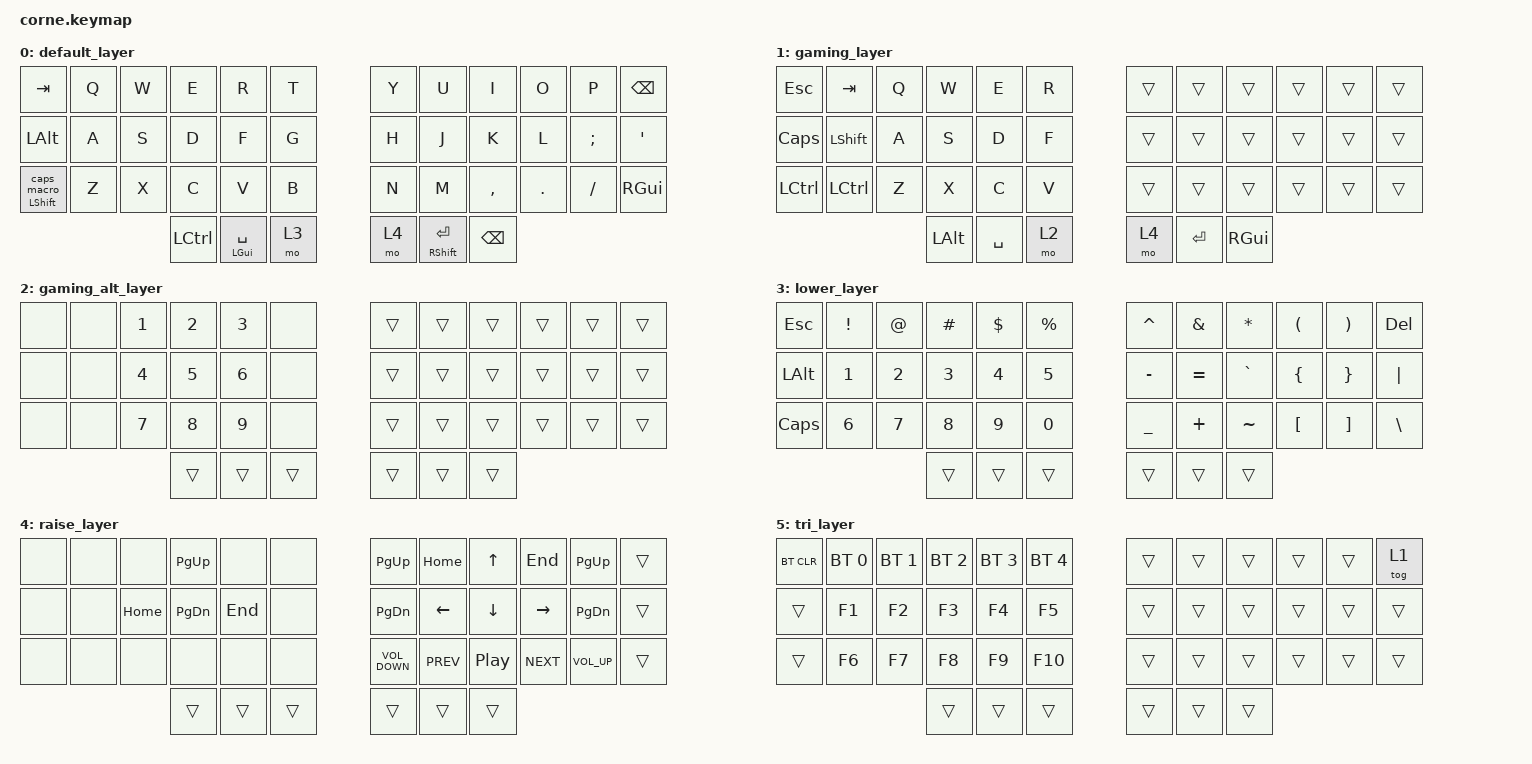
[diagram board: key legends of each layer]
#include <behaviors.dtsi>
#include <dt-bindings/zmk/bt.h>
#include <dt-bindings/zmk/keys.h>

/ {
    macros {
        caps_macro: caps_macro {
            compatible = "zmk,behavior-macro";
            #binding-cells = <0>;
            bindings = <&kp CAPS>, <&macro_tap_time 200>;

            label = "CAPS_MACRO";
        };
    };

    behaviors {
        shift_caps: shift_caps {
            compatible = "zmk,behavior-hold-tap";
            label = "SHIFT_CAPS";
            bindings = <&kp>, <&caps_macro>;

            #binding-cells = <2>;
            tapping-term-ms = <200>;
        };

        tpref: tpref {
            compatible = "zmk,behavior-hold-tap";
            label = "hold_tap_preferred";
            bindings = <&kp>, <&kp>;

            #binding-cells = <2>;
            tapping-term-ms = <150>;
            quick-tap-ms = <0>;
            flavor = "tap-preferred";
        };
    };

    keymap {
        compatible = "zmk,keymap";

        default_layer {
            bindings = <
&kp TAB              &kp Q  &kp W  &kp E      &kp R              &kp T    &kp Y  &kp U                &kp I          &kp O    &kp P     &kp BSPC
&kp LALT             &kp A  &kp S  &kp D      &kp F              &kp G    &kp H  &kp J                &kp K          &kp L    &kp SEMI  &kp SQT
&shift_caps LSHFT 0  &kp Z  &kp X  &kp C      &kp V              &kp B    &kp N  &kp M                &kp COMMA      &kp DOT  &kp FSLH  &kp RGUI
                                   &kp LCTRL  &tpref LGUI SPACE  &mo 3    &mo 4  &mt RIGHT_SHIFT RET  &kp BACKSPACE
            >;
        };

        gaming_layer {
            bindings = <
&kp ESCAPE  &kp TAB         &kp Q  &kp W         &kp E      &kp R    &trans  &trans     &trans         &trans  &trans  &trans
&kp CAPS    &kp LEFT_SHIFT  &kp A  &kp S         &kp D      &kp F    &trans  &trans     &trans         &trans  &trans  &trans
&kp LCTRL   &kp LCTRL       &kp Z  &kp X         &kp C      &kp V    &trans  &trans     &trans         &trans  &trans  &trans
                                   &kp LEFT_ALT  &kp SPACE  &mo 2    &mo 4   &kp ENTER  &kp RIGHT_GUI
            >;
        };

        gaming_alt_layer {
            bindings = <
&none  &none  &kp N1  &kp N2  &kp N3  &none     &trans  &trans  &trans  &trans  &trans  &trans
&none  &none  &kp N4  &kp N5  &kp N6  &none     &trans  &trans  &trans  &trans  &trans  &trans
&none  &none  &kp N7  &kp N8  &kp N9  &none     &trans  &trans  &trans  &trans  &trans  &trans
                      &trans  &trans  &trans    &trans  &trans  &trans
            >;
        };

        lower_layer {
            bindings = <
&kp ESC       &kp EXCL  &kp AT  &kp HASH  &kp DLLR  &kp PRCNT    &kp CARET  &kp AMPS   &kp ASTRK  &kp LPAR  &kp RPAR  &kp DEL
&kp LEFT_ALT  &kp N1    &kp N2  &kp N3    &kp N4    &kp N5       &kp MINUS  &kp EQUAL  &kp GRAVE  &kp LBRC  &kp RBRC  &kp PIPE
&kp CAPS      &kp N6    &kp N7  &kp N8    &kp N9    &kp N0       &kp UNDER  &kp PLUS   &kp TILDE  &kp LBKT  &kp RBKT  &kp BSLH
                                &trans    &trans    &trans       &trans     &trans     &trans
            >;
        };

        raise_layer {
            bindings = <
&none  &none  &none     &kp PAGE_UP    &none    &none     &kp PAGE_UP        &kp HOME    &kp UP            &kp END     &kp PAGE_UP      &trans
&none  &none  &kp HOME  &kp PAGE_DOWN  &kp END  &none     &kp PAGE_DOWN      &kp LEFT    &kp DOWN          &kp RIGHT   &kp PAGE_DOWN    &trans
&none  &none  &none     &none          &none    &none     &kp C_VOLUME_DOWN  &kp C_PREV  &kp C_PLAY_PAUSE  &kp C_NEXT  &kp C_VOLUME_UP  &trans
                        &trans         &trans   &trans    &trans             &trans      &trans
            >;
        };

        tri_layer {
            bindings = <
&bt BT_CLR  &bt BT_SEL 0  &bt BT_SEL 1  &bt BT_SEL 2  &bt BT_SEL 3  &bt BT_SEL 4    &trans  &trans  &trans  &trans  &trans  &tog 1
&trans      &kp F1        &kp F2        &kp F3        &kp F4        &kp F5          &trans  &trans  &trans  &trans  &trans  &trans
&trans      &kp F6        &kp F7        &kp F8        &kp F9        &kp F10         &trans  &trans  &trans  &trans  &trans  &trans
                                        &trans        &trans        &trans          &trans  &trans  &trans
            >;
        };
    };

    conditional_layers {
        compatible = "zmk,conditional-layers";

        tri_layer {
            if-layers = <3 4>;
            then-layer = <5>;
        };

        tri_layer_gaming {
            if-layers = <2 4>;
            then-layer = <5>;
        };
    };
};
